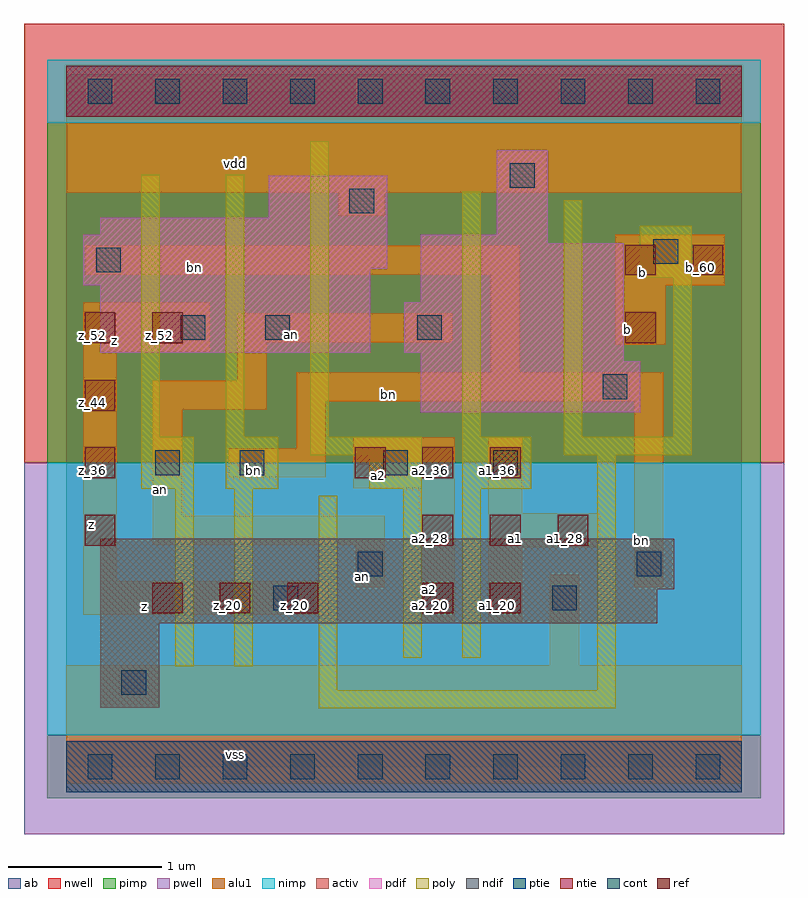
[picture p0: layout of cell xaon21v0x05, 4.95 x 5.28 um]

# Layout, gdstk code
import gdstk
lib = gdstk.Library(unit=1e-6, precision=2.5e-09)
def R(c, l, rs):  # rectangles x0, y0, x1, y1
    for r in rs: c.add(gdstk.rectangle(r[:2], r[2:], *l))
def A(c, l, x, y, w, h, nx, ny, dx, dy):  # array of equal rectangles
    R(c, l, [(x+i*dx, y+j*dy, x+i*dx+w, y+j*dy+h) for i in range(nx) for j in range(ny)])
ndif = (3, 0)
pdif = (4, 0)
ntie = (5, 0)
ptie = (6, 0)
ref = (24, 0)
cont = (25, 0)
pwell = (41, 0)
nwell = (42, 0)
activ = (43, 0)
pimp = (44, 0)
nimp = (45, 0)
poly = (46, 0)
alu1 = (49, 0)
ab = (63, 0)

xaon21v0x05 = lib.new_cell('xaon21v0x05')
R(xaon21v0x05, ndif, [(0.22,0.385,0.605,0.935), (0.22,0.935,3.85,1.155), (0.22,1.155,3.96,1.485)])
R(xaon21v0x05, pdif, [(2.31,2.31,3.74,2.64), (2.31,2.64,3.63,2.695), (0.22,2.695,1.98,3.135), (2.2,2.695,3.63,3.025), (2.31,3.025,3.63,3.41), (0.11,3.135,1.98,3.245), (0.11,3.245,2.09,3.465), (2.31,3.41,3.135,3.465), (0.22,3.465,2.09,3.575), (2.805,3.465,3.135,4.015), (1.32,3.575,2.09,3.85)])
R(xaon21v0x05, ntie, [(0,4.235,4.4,4.565)])
R(xaon21v0x05, ptie, [(0,-0.165,4.4,0.165)])
A(xaon21v0x05, ref, 0.56, 1, 0.2, 0.2, 3, 1, 0.44, 0)
A(xaon21v0x05, ref, 0.12, 1.44, 0.2, 0.2, 1, 4, 0, 0.44)
A(xaon21v0x05, ref, 2.32, 1.44, 0.2, 0.2, 3, 1, 0.44, 0)
A(xaon21v0x05, ref, 1.88, 1.88, 0.2, 0.2, 3, 1, 0.44, 0)
R(xaon21v0x05, ref, [(2.32,1,2.52,1.2), (2.76,1,2.96,1.2), (0.56,2.76,0.76,2.96), (3.64,2.76,3.84,2.96), (3.64,3.2,3.84,3.4), (4.08,3.2,4.28,3.4)])
A(xaon21v0x05, cont, 0.14, -0.08, 0.16, 0.16, 10, 2, 0.44, 4.4)
R(xaon21v0x05, cont, [(0.36,0.47,0.52,0.63), (1.35,1.02,1.51,1.18), (3.165,1.02,3.325,1.18), (1.9,1.24,2.06,1.4), (3.715,1.24,3.875,1.4), (0.58,1.9,0.74,2.06), (1.13,1.9,1.29,2.06), (2.065,1.9,2.225,2.06), (2.78,1.9,2.94,2.06), (3.495,2.395,3.655,2.555), (0.745,2.78,0.905,2.94), (1.295,2.78,1.455,2.94), (2.285,2.78,2.445,2.94), (0.195,3.22,0.355,3.38), (3.825,3.275,3.985,3.435), (1.845,3.605,2.005,3.765), (2.89,3.77,3.05,3.93)])
R(xaon21v0x05, pwell, [(-0.275,-0.44,4.675,1.98)])
R(xaon21v0x05, nwell, [(-0.275,1.98,4.675,4.84)])
R(xaon21v0x05, activ, [(0,-0.165,4.4,0.165), (0.22,0.385,0.605,0.935), (0.22,0.935,3.85,1.155), (0.22,1.155,3.96,1.485), (2.31,2.31,3.74,2.64), (2.31,2.64,3.63,2.695), (0.22,2.695,1.98,3.135), (2.2,2.695,3.63,3.025), (2.31,3.025,3.63,3.41), (0.11,3.135,1.98,3.245), (0.11,3.245,2.09,3.465), (2.31,3.41,3.135,3.465), (0.22,3.465,2.09,3.575), (2.805,3.465,3.135,4.015), (1.32,3.575,2.09,3.85), (0,4.235,4.4,4.565)])
R(xaon21v0x05, pimp, [(-0.125,-0.205,4.525,0.205), (-0.125,1.98,4.525,4.195)])
R(xaon21v0x05, nimp, [(-0.125,0.205,4.525,1.98), (-0.125,4.195,4.525,4.605)])
R(xaon21v0x05, poly, [(1.645,0.38,3.58,0.5), (1.645,0.5,1.765,1.765), (3.46,0.5,3.58,2.03), (0.71,0.655,0.83,1.81), (1.095,0.655,1.215,1.81), (2.195,0.71,2.315,1.81), (2.58,0.71,2.7,1.81), (0.49,1.81,0.83,2.15), (1.04,1.81,1.38,2.15), (1.975,1.81,2.315,2.03), (2.58,1.81,3.03,2.15), (1.59,2.03,2.315,2.15), (3.24,2.03,4.075,2.15), (0.49,2.15,0.61,3.855), (1.04,2.15,1.16,3.855), (1.59,2.15,1.71,4.075), (2.58,2.15,2.7,3.745), (3.24,2.15,3.36,3.69), (3.955,2.15,4.075,3.185), (3.735,3.185,4.075,3.525)])
R(xaon21v0x05, alu1, [(0,-0.11,4.4,0.66), (3.15,0.66,3.34,1.25), (2.31,0.935,2.53,1.815), (2.75,0.935,2.97,1.43), (0.11,0.99,1.705,1.21), (1.885,1.17,2.075,1.445), (3.7,1.17,3.89,2.38), (0.11,1.21,0.33,2.695), (2.75,1.43,3.465,1.65), (0.565,1.445,2.075,1.635), (0.565,1.635,0.755,2.325), (2.75,1.65,2.97,2.145), (1.87,1.815,2.53,2.145), (1.06,1.885,1.69,2.075), (1.5,2.075,1.69,2.38), (0.565,2.325,1.305,2.515), (1.5,2.38,3.89,2.57), (1.115,2.515,1.305,2.765), (2.765,2.57,2.955,3.205), (0.11,2.695,0.935,3.025), (3.575,2.75,3.905,3.135), (1.115,2.765,2.515,2.955), (3.575,3.135,4.29,3.465), (0.125,3.205,2.955,3.395), (1.775,3.59,2.075,3.74), (0,3.74,4.4,4.51)])
R(xaon21v0x05, ab, [(0,0,4.4,4.4)])
xaon21v0x05.add(gdstk.Label('vss', (1.1,0.0825), layer=49, texttype=0))
xaon21v0x05.add(gdstk.Label('bn', (3.7475,1.4725), layer=49, texttype=0))
xaon21v0x05.add(gdstk.Label('a1', (2.9275,1.485), layer=49, texttype=0))
xaon21v0x05.add(gdstk.Label('a2', (2.365,1.155), layer=49, texttype=0))
xaon21v0x05.add(gdstk.Label('an', (1.9325,1.2375), layer=49, texttype=0))
xaon21v0x05.add(gdstk.Label('z', (0.5075,1.045), layer=49, texttype=0))
xaon21v0x05.add(gdstk.Label('a2', (2.035,1.8975), layer=49, texttype=0))
xaon21v0x05.add(gdstk.Label('bn', (1.2175,1.9325), layer=49, texttype=0))
xaon21v0x05.add(gdstk.Label('an', (0.6125,1.8075), layer=49, texttype=0))
xaon21v0x05.add(gdstk.Label('bn', (2.0975,2.4275), layer=49, texttype=0))
xaon21v0x05.add(gdstk.Label('b', (3.6575,2.845), layer=49, texttype=0))
xaon21v0x05.add(gdstk.Label('b', (3.7525,3.2175), layer=49, texttype=0))
xaon21v0x05.add(gdstk.Label('z', (0.165,1.58), layer=49, texttype=0))
xaon21v0x05.add(gdstk.Label('an', (1.465,2.8125), layer=49, texttype=0))
xaon21v0x05.add(gdstk.Label('z', (0.315,2.7775), layer=49, texttype=0))
xaon21v0x05.add(gdstk.Label('bn', (0.8325,3.2525), layer=49, texttype=0))
xaon21v0x05.add(gdstk.Label('vdd', (1.1,3.9325), layer=49, texttype=0))
xaon21v0x05.add(gdstk.Label('z_20', (0.61,1.05), layer=24, texttype=0))
xaon21v0x05.add(gdstk.Label('z_52', (0.61,2.81), layer=24, texttype=0))
xaon21v0x05.add(gdstk.Label('z_20', (1.05,1.05), layer=24, texttype=0))
xaon21v0x05.add(gdstk.Label('z_20', (1.49,1.05), layer=24, texttype=0))
xaon21v0x05.add(gdstk.Label('a2_36', (1.93,1.93), layer=24, texttype=0))
xaon21v0x05.add(gdstk.Label('z_28', (0.17,1.49), layer=24, texttype=0))
xaon21v0x05.add(gdstk.Label('z_36', (0.17,1.93), layer=24, texttype=0))
xaon21v0x05.add(gdstk.Label('z_44', (0.17,2.37), layer=24, texttype=0))
xaon21v0x05.add(gdstk.Label('z_52', (0.17,2.81), layer=24, texttype=0))
xaon21v0x05.add(gdstk.Label('a2_20', (2.37,1.05), layer=24, texttype=0))
xaon21v0x05.add(gdstk.Label('a2_28', (2.37,1.49), layer=24, texttype=0))
xaon21v0x05.add(gdstk.Label('a2_36', (2.37,1.93), layer=24, texttype=0))
xaon21v0x05.add(gdstk.Label('a1_20', (2.81,1.05), layer=24, texttype=0))
xaon21v0x05.add(gdstk.Label('a1_28', (2.81,1.49), layer=24, texttype=0))
xaon21v0x05.add(gdstk.Label('a1_36', (2.81,1.93), layer=24, texttype=0))
xaon21v0x05.add(gdstk.Label('a1_28', (3.25,1.49), layer=24, texttype=0))
xaon21v0x05.add(gdstk.Label('b_52', (3.69,2.81), layer=24, texttype=0))
xaon21v0x05.add(gdstk.Label('b_60', (3.69,3.25), layer=24, texttype=0))
xaon21v0x05.add(gdstk.Label('b_60', (4.13,3.25), layer=24, texttype=0))

lib.write_gds('xaon21v0x05.gds')
